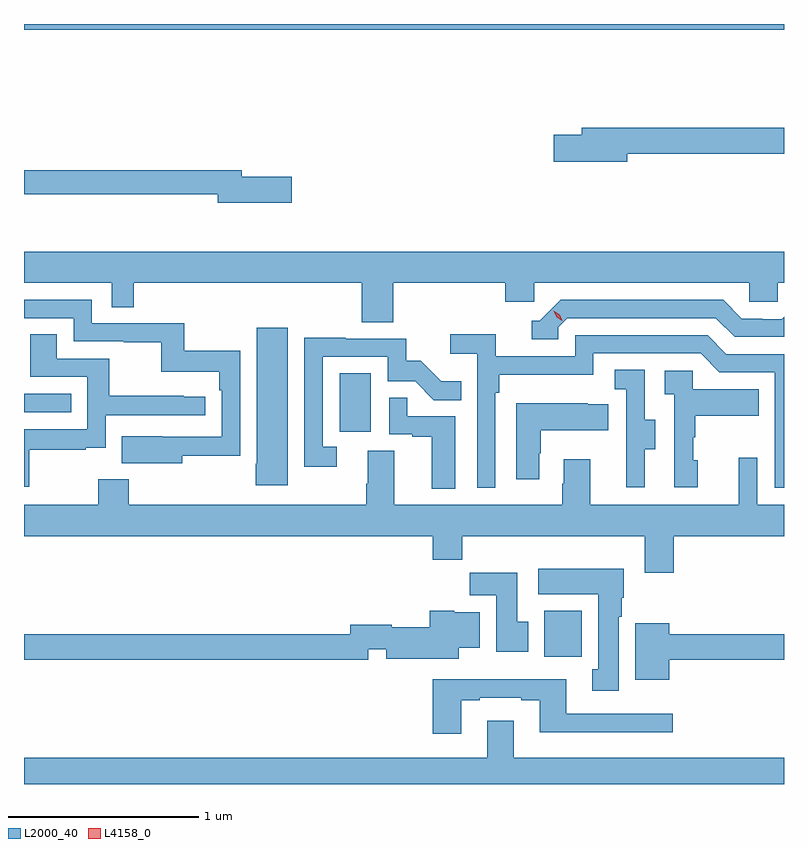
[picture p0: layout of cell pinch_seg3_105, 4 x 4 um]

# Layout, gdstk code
import gdstk
lib = gdstk.Library(unit=1e-6, precision=1e-09)
def R(c, l, rs):  # rectangles x0, y0, x1, y1
    for r in rs: c.add(gdstk.rectangle(r[:2], r[2:], *l))
def P(c, l, *ps):  # polygons
    for p in ps: c.add(gdstk.Polygon(p, *l))
L2000_40 = (2000, 40)
L4158_0 = (4158, 0)

pinch_seg3_105 = lib.new_cell('pinch_seg3_105')
R(pinch_seg3_105, L2000_40, [(1047.737,709.604,1047.934,709.846), (1046.66,710.79,1046.824,711.097), (1044.999,710.892,1045.247,710.988), (1044.999,712.904,1048.999,712.935)])
P(pinch_seg3_105, L2000_40, [(1048.174,712.252),(1048.999,712.252),(1048.999,712.388),(1047.935,712.388),(1047.935,712.352),(1047.786,712.352),(1047.786,712.21),(1048.174,712.21)],
  [(1046.407,712.13),(1046.146,712.13),(1046.146,712.166),(1044.999,712.166),(1044.999,712.038),(1046.018,712.038),(1046.018,711.995),(1046.407,711.995)],
  [(1046.942,711.572),(1047.533,711.572),(1047.533,711.474),(1047.684,711.474),(1047.684,711.572),(1048.815,711.572),(1048.815,711.474),(1048.965,711.474),(1048.965,711.572),(1048.999,711.572),(1048.999,711.736),(1044.999,711.736),(1044.999,711.572),(1045.461,711.572),(1045.461,711.445),(1045.577,711.445),(1045.577,711.572),(1046.777,711.572),(1046.777,711.364),(1046.942,711.364)],
  [(1045.831,710.662),(1046.136,710.662),(1046.136,711.214),(1045.843,711.214),(1045.843,711.36),(1045.356,711.36),(1045.356,711.483),(1044.999,711.483),(1044.999,711.387),(1045.26,711.387),(1045.26,711.264),(1045.525,711.264),(1045.525,711.259),(1045.722,711.259),(1045.722,711.104),(1046.027,711.104),(1046.027,711.008),(1046.04,711.008),(1046.04,710.763),(1045.727,710.763),(1045.727,710.764),(1045.513,710.764),(1045.513,710.624),(1045.831,710.624)],
  [(1047.81,711.339),(1047.858,711.387),(1048.641,711.387),(1048.74,711.288),(1048.999,711.288),(1048.999,711.393),(1048.987,711.381),(1048.884,711.381),(1048.884,711.384),(1048.777,711.384),(1048.678,711.483),(1047.825,711.483),(1047.714,711.372),(1047.671,711.372),(1047.671,711.276),(1047.81,711.276)],
  [(1046.386,711.337),(1046.225,711.337),(1046.225,710.62),(1046.218,710.62),(1046.218,710.508),(1046.386,710.508)],
  [(1047.48,710.993),(1047.5,710.993),(1047.5,711.089),(1047.996,711.089),(1047.996,711.201),(1048.56,711.201),(1048.659,711.102),(1048.95,711.102),(1048.95,710.493),(1048.999,710.493),(1048.999,711.198),(1048.696,711.198),(1048.597,711.297),(1047.9,711.297),(1047.9,711.186),(1047.482,711.186),(1047.482,711.302),(1047.243,711.302),(1047.243,711.2),(1047.384,711.2),(1047.384,710.493),(1047.48,710.493)],
  [(1045.027,710.694),(1045.325,710.694),(1045.325,710.705),(1045.428,710.705),(1045.428,710.877),(1045.954,710.877),(1045.954,710.973),(1045.841,710.973),(1045.841,710.978),(1045.448,710.978),(1045.448,711.174),(1045.171,711.174),(1045.171,711.302),(1045.031,711.302),(1045.031,711.078),(1045.332,711.078),(1045.332,710.802),(1044.999,710.802),(1044.999,710.499),(1045.027,710.499)],
  [(1046.644,710.709),(1046.571,710.709),(1046.571,711.183),(1046.913,711.183),(1046.913,711.054),(1047.058,711.054),(1047.156,710.956),(1047.299,710.956),(1047.299,711.055),(1047.195,711.055),(1047.088,711.162),(1047.012,711.162),(1047.012,711.279),(1046.693,711.279),(1046.693,711.284),(1046.475,711.284),(1046.475,710.604),(1046.644,710.604)],
  [(1048.267,710.698),(1048.321,710.698),(1048.321,710.853),(1048.266,710.853),(1048.266,711.116),(1048.107,711.116),(1048.107,711.013),(1048.17,711.013),(1048.17,710.709),(1048.169,710.709),(1048.169,710.496),(1048.267,710.496)],
  [(1048.546,710.64),(1048.521,710.64),(1048.521,710.759),(1048.531,710.759),(1048.531,710.873),(1048.865,710.873),(1048.865,711.013),(1048.518,711.013),(1048.518,711.111),(1048.371,711.111),(1048.371,710.987),(1048.422,710.987),(1048.422,710.496),(1048.546,710.496)],
  [(1047.268,710.871),(1047.017,710.871),(1047.017,710.969),(1046.922,710.969),(1046.922,710.775),(1047.043,710.775),(1047.043,710.763),(1047.146,710.763),(1047.146,710.489),(1047.268,710.489)],
  [(1047.712,710.676),(1047.72,710.676),(1047.72,710.798),(1048.073,710.798),(1048.073,710.935),(1047.965,710.935),(1047.965,710.938),(1047.59,710.938),(1047.59,710.538),(1047.712,710.538)],
  [(1048.418,710.24),(1048.999,710.24),(1048.999,710.404),(1048.857,710.404),(1048.857,710.653),(1048.76,710.653),(1048.76,710.404),(1047.979,710.404),(1047.979,710.644),(1047.839,710.644),(1047.839,710.516),(1047.832,710.516),(1047.832,710.404),(1046.947,710.404),(1046.947,710.69),(1046.807,710.69),(1046.807,710.516),(1046.8,710.516),(1046.8,710.404),(1045.55,710.404),(1045.55,710.539),(1045.39,710.539),(1045.39,710.404),(1044.999,710.404),(1044.999,710.24),(1047.149,710.24),(1047.149,710.116),(1047.305,710.116),(1047.305,710.24),(1048.265,710.24),(1048.265,710.046),(1048.418,710.046)],
  [(1048.129,709.814),(1048.144,709.814),(1048.144,709.914),(1048.156,709.914),(1048.156,710.068),(1047.705,710.068),(1047.705,709.934),(1048.022,709.934),(1048.022,709.538),(1047.989,709.538),(1047.989,709.425),(1048.129,709.425)],
  [(1047.652,709.788),(1047.595,709.788),(1047.595,710.047),(1047.346,710.047),(1047.346,709.928),(1047.485,709.928),(1047.485,709.632),(1047.652,709.632)],
  [(1046.811,709.645),(1046.906,709.645),(1046.906,709.595),(1047.286,709.595),(1047.286,709.652),(1047.397,709.652),(1047.397,709.84),(1047.264,709.84),(1047.264,709.846),(1047.134,709.846),(1047.134,709.761),(1046.934,709.761),(1046.934,709.774),(1046.715,709.774),(1046.715,709.724),(1044.999,709.724),(1044.999,709.588),(1046.811,709.588)],
  [(1048.396,709.588),(1048.999,709.588),(1048.999,709.724),(1048.396,709.724),(1048.396,709.78),(1048.217,709.78),(1048.217,709.484),(1048.396,709.484)],
  [(1047.301,709.377),(1047.397,709.377),(1047.397,709.389),(1047.617,709.389),(1047.617,709.377),(1047.713,709.377),(1047.713,709.208),(1048.414,709.208),(1048.414,709.305),(1047.853,709.305),(1047.853,709.486),(1047.149,709.486),(1047.149,709.2),(1047.301,709.2)],
  [(1048.999,709.072),(1047.577,709.072),(1047.577,709.267),(1047.437,709.267),(1047.437,709.072),(1044.999,709.072),(1044.999,708.935),(1048.999,708.935)])
P(pinch_seg3_105, L4158_0, [(1047.833,711.372),(1047.802,711.392),(1047.787,711.425),(1047.787,711.425),(1047.787,711.425),(1047.818,711.405),(1047.833,711.373),(1047.833,711.372)])

lib.write_gds('pinch_seg3_105.gds')
